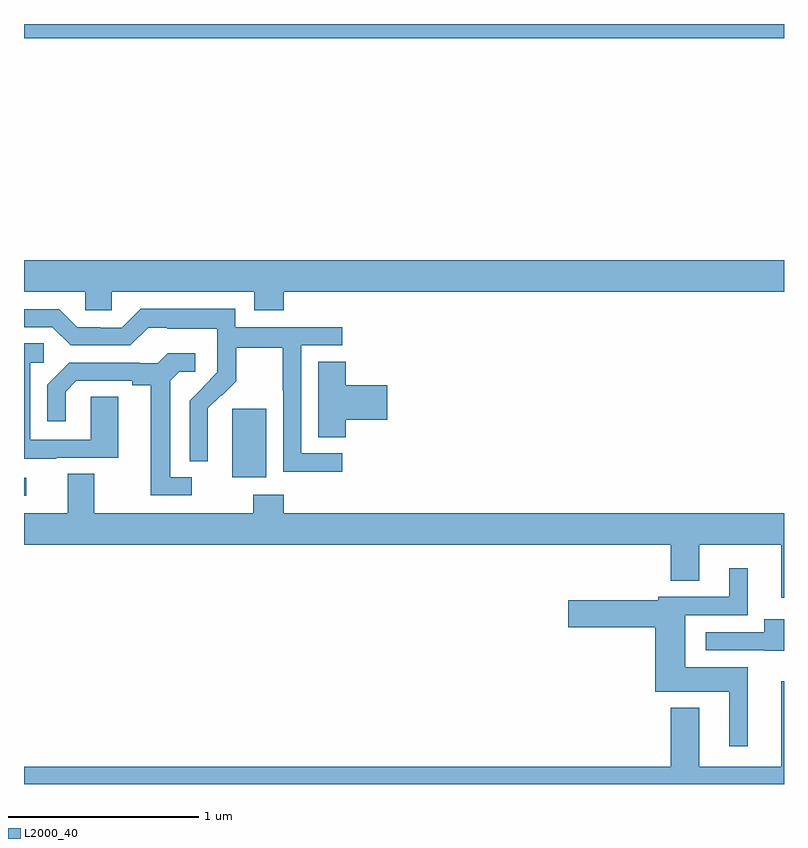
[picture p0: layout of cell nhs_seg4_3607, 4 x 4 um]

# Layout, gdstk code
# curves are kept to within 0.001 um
import gdstk
lib = gdstk.Library(unit=1e-6, precision=1e-09)
def R(c, l, rs):  # rectangles x0, y0, x1, y1
    for r in rs: c.add(gdstk.rectangle(r[:2], r[2:], *l))
def P(c, l, *ps):  # polygons
    for p in ps: c.add(gdstk.Polygon(p, *l))
L2000_40 = (2000, 40)

nhs_seg4_3607 = lib.new_cell('nhs_seg4_3607')
R(nhs_seg4_3607, L2000_40, [(301,790.416,301.012,790.512), (302.096,790.514,302.275,790.875), (301,792.824,305,792.9)])
P(nhs_seg4_3607, L2000_40, [(302.366,791.492),(305,791.492),(305,791.656),(301,791.656),(301,791.492),(301.323,791.492),(301.323,791.394),(301.461,791.394),(301.461,791.492),(302.213,791.492),(302.213,791.393),(302.366,791.393)],
  [(302.674,790.641),(302.46,790.641),(302.46,791.208),(302.674,791.208),(302.674,791.304),(302.112,791.304),(302.112,791.401),(301.615,791.401),(301.515,791.301),(301.4,791.301),(301.4,791.304),(301.281,791.304),(301.185,791.4),(301,791.4),(301,791.304),(301.149,791.304),(301.245,791.208),(301.56,791.208),(301.653,791.301),(301.753,791.301),(301.753,791.297),(302.016,791.297),(302.016,791.163),(302.018,791.163),(302.018,791.066),(301.872,790.918),(301.872,790.6),(301.968,790.6),(301.967,790.877),(302.037,790.947),(302.04,790.944),(302.117,791.021),(302.117,791.196),(302.362,791.196),(302.362,790.972),(302.364,790.972),(302.364,790.543),(302.674,790.543)],
  [(301.171,790.617),(301.495,790.617),(301.495,790.937),(301.35,790.937),(301.35,790.713),(301.032,790.713),(301.032,791.118),(301.105,791.118),(301.105,791.219),(301,791.219),(301,790.613),(301.171,790.613)],
  [(301.882,790.515),(301.771,790.515),(301.771,791.023),(301.818,791.07),(301.9,791.07),(301.9,791.167),(301.756,791.167),(301.704,791.115),(301.61,791.115),(301.61,791.118),(301.238,791.118),(301.122,791.002),(301.122,790.809),(301.219,790.809),(301.219,790.965),(301.276,791.022),(301.571,791.022),(301.571,791),(301.667,791),(301.667,790.419),(301.882,790.419)],
  [(302.693,790.817),(302.911,790.817),(302.911,791),(302.693,791),(302.693,791.123),(302.549,791.123),(302.549,790.726),(302.693,790.726)],
  [(305,790.324),(302.366,790.324),(302.366,790.423),(302.206,790.423),(302.206,790.324),(301.369,790.324),(301.369,790.532),(301.229,790.532),(301.229,790.324),(301,790.324),(301,790.16),(304.403,790.16),(304.403,789.97),(304.555,789.97),(304.555,790.16),(304.985,790.16),(304.985,789.879),(305,789.879)],
  [(304.81,789.514),(304.48,789.514),(304.48,789.789),(304.81,789.789),(304.81,790.036),(304.712,790.036),(304.712,789.885),(304.338,789.885),(304.338,789.867),(303.864,789.867),(303.864,789.725),(304.322,789.725),(304.322,789.386),(304.712,789.386),(304.712,789.099),(304.81,789.099)],
  [(305,789.768),(304.895,789.768),(304.895,789.699),(304.587,789.699),(304.587,789.603),(304.899,789.603),(304.899,789.602),(305,789.602)],
  [(305,789.442),(304.985,789.442),(304.985,788.992),(304.555,788.992),(304.555,789.301),(304.403,789.301),(304.403,788.992),(301,788.992),(301,788.9),(305,788.9)])

lib.write_gds('nhs_seg4_3607.gds')
